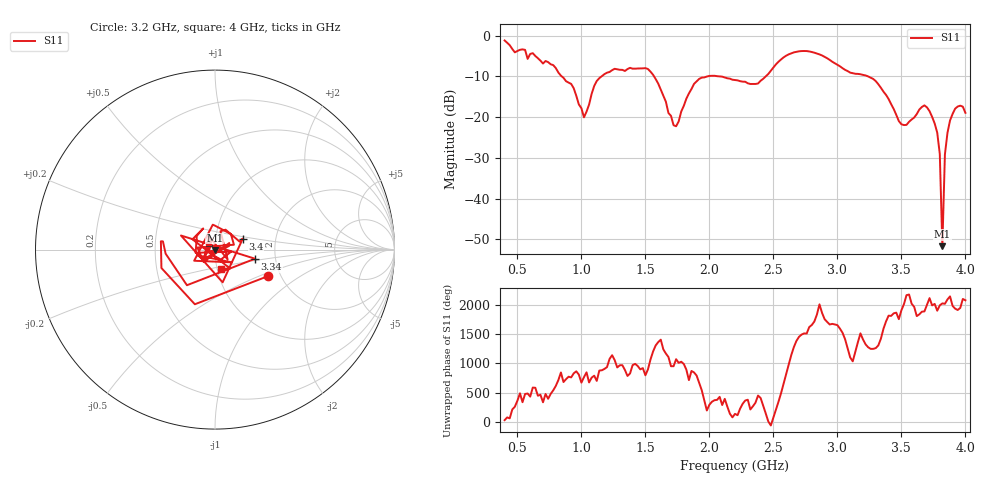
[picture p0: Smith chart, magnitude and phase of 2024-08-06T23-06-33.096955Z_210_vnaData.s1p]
!Created with skrf (http://scikit-rf.org).
# Hz S RI R 50.0
!freq ReS11 ImS11
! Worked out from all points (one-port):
!   181 points, 400 MHz to 4 GHz, reference 50 ohm
!   lowest |S11| = -51.7 dB at 3.82 GHz (marker M1), VSWR 1.01, Z = 49.8 - j0.207 ohm
!   |S11| at or under -10 dB: 1.567 GHz to 1.986 GHz (419 MHz wide, 23.6 % of centre); 2.073 GHz to 2.441 GHz (367.7 MHz wide, 16.3 % of centre); 3.239 GHz to end of sweep (the widest 3 of 4)
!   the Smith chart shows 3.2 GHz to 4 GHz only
!   S11 on the Smith chart (normalised r, x): 3.2 GHz: 1.71, -0.57; 3.34 GHz: 1.56, -0.17; 3.4 GHz: 1.35, +0.17; 4 GHz: 1.04, -0.23
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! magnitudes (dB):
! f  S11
! 400 MHz  -1.2
! 860 MHz  -10.4
! 940 MHz  -12.9
! 1.02 GHz  -20.1
! 1.12 GHz  -11.1
! 1.3 GHz  -8.4
! 1.52 GHz  -8.2
! 1.6 GHz  -11.8
! 1.72 GHz  -22.0
! 1.76 GHz  -21.0
! 1.92 GHz  -10.6
! 2.2 GHz  -10.9
! 2.38 GHz  -11.8
! 2.66 GHz  -4.1
! 3.1 GHz  -9.1
! 3.2 GHz  -9.6
! 3.34 GHz  -12.8
! 3.4 GHz  -15.6
! 3.5 GHz  -21.8
! 3.56 GHz  -21.1
! 3.68 GHz  -17.1
! 3.78 GHz  -23.8
! 3.8 GHz  -29.1
! 3.82 GHz  -51.7
! 3.84 GHz  -29.2
! 3.86 GHz  -23.9
! 3.92 GHz  -17.9
! 4 GHz  -18.9
